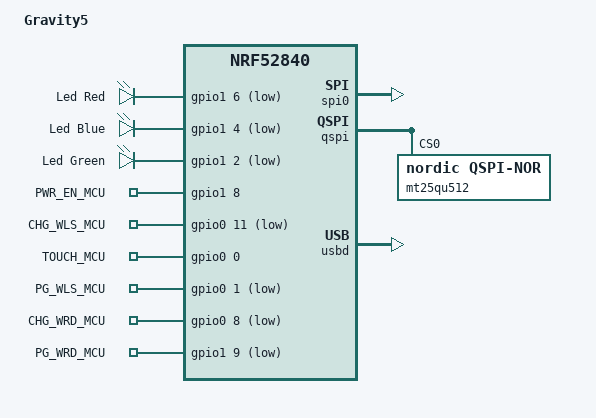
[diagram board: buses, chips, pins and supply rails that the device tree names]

/dts-v1/;
#include <nordic/nrf52840_qiaa.dtsi>
#include "gravity5-pinctrl.dtsi"

/ {
	model = "Gravity5";
	compatible = "ardesia,gravity5";

	chosen {
		zephyr,sram = &sram0;
		zephyr,flash = &flash0;
		zephyr,code-partition = &slot0_partition;
	};

	leds {
		compatible = "gpio-leds";

		led_red: led_0 {
			gpios = < &gpio1 6 GPIO_ACTIVE_LOW >;
			label = "Led Red";
		};

		led_green: led_1 {
			gpios = < &gpio1 4 GPIO_ACTIVE_LOW >;
			label = "Led Blue";
		};

		led_blue: led_2 {
			gpios = < &gpio1 2 GPIO_ACTIVE_LOW >;
			label = "Led Green";
		};
	};

	gpiocustom {
		compatible = "gpio-keys";

		pwr_en_mcu: gpiocustom_0 {
			gpios = < &gpio1 8 GPIO_ACTIVE_HIGH >;
			label = "PWR_EN_MCU";
		};

		chg_wls_mcu: gpiocustom_1 {
			gpios = < &gpio0 11 GPIO_ACTIVE_LOW >;
			label = "CHG_WLS_MCU";
		};

		touch_mcu: gpiocustom_2 {
			gpios = < &gpio0 0 GPIO_ACTIVE_HIGH >;
			label = "TOUCH_MCU";
		};

		pg_wls_mcu: gpiocustom_3 {
			gpios = < &gpio0 1 GPIO_ACTIVE_LOW >;
			label = "PG_WLS_MCU";
		};

		chg_wrd_mcu: gpiocustom_4 {
			gpios = < &gpio0 8 GPIO_ACTIVE_LOW >;
			label = "CHG_WRD_MCU";
		};

		pg_wrd_mcu: gpiocustom_5 {
			gpios = < &gpio1 9 GPIO_ACTIVE_LOW >;
			label = "PG_WRD_MCU";
		};
	};
	aliases {
		spi-flash0 = &mt25qu512;
	};
};

&gpio1 {
	status = "okay";
};

&gpio0 {
	status = "okay";
};

&spi0 {
	status = "okay";
	max-frequency = < 0x6ACFC0 >;
};

&qspi {
	status = "okay";
	pinctrl-0 = <&qspi_default>;
	pinctrl-1 = <&qspi_sleep>;
	pinctrl-names = "default", "sleep";

	mt25qu512: mt25qu512@0 {
		compatible = "nordic,qspi-nor";
		reg = <0>;
		writeoc = "pp4io";
		readoc = "read4o";
		sck-frequency = <8000000>;
		jedec-id = [20 bb 20];
		sfdp-bfp = [
			e5 20 fb ff  ff ff ff 1f  29 eb 27 6b  27 3b 27 bb
			ff ff ff ff  ff ff 27 bb  ff ff 29 eb  0c 20 10 d8
			0f 52 00 00  24 4a 99 00  8b 8e 03 e1  ac 01 27 38
			7a 75 7a 75  fb bd d5 5c  4a 0f 82 ff  81 bd 3d 36
		];
		size = <536870912>;
		has-dpd;
		t-enter-dpd = <10000>;
		t-exit-dpd = <35000>;
	};
};

&flash0 {
	partitions {
		compatible = "fixed-partitions";
		#address-cells = <1>;
		#size-cells = <1>;

		boot_partition: partition@0 {
			label = "mcuboot";
			reg = <0x00000000 0x0000C000>;
		};
		slot0_partition: partition@c000 {
			label = "image-0";
			reg = <0x0000C000 0x00067000>;
		};
		slot1_partition: partition@73000 {
			label = "image-1";
			reg = <0x00073000 0x00067000>;
		};
		scratch_partition: partition@da000 {
			label = "image-scratch";
			reg = <0x000da000 0x0001e000>;
		};		
		storage_partition: partition@f8000 {
			label = "storage";
			reg = <0x000f8000 0x00008000>;
		};
	};
};

zephyr_udc0: &usbd {
	compatible = "nordic,nrf-usbd";
	status = "okay";
};
